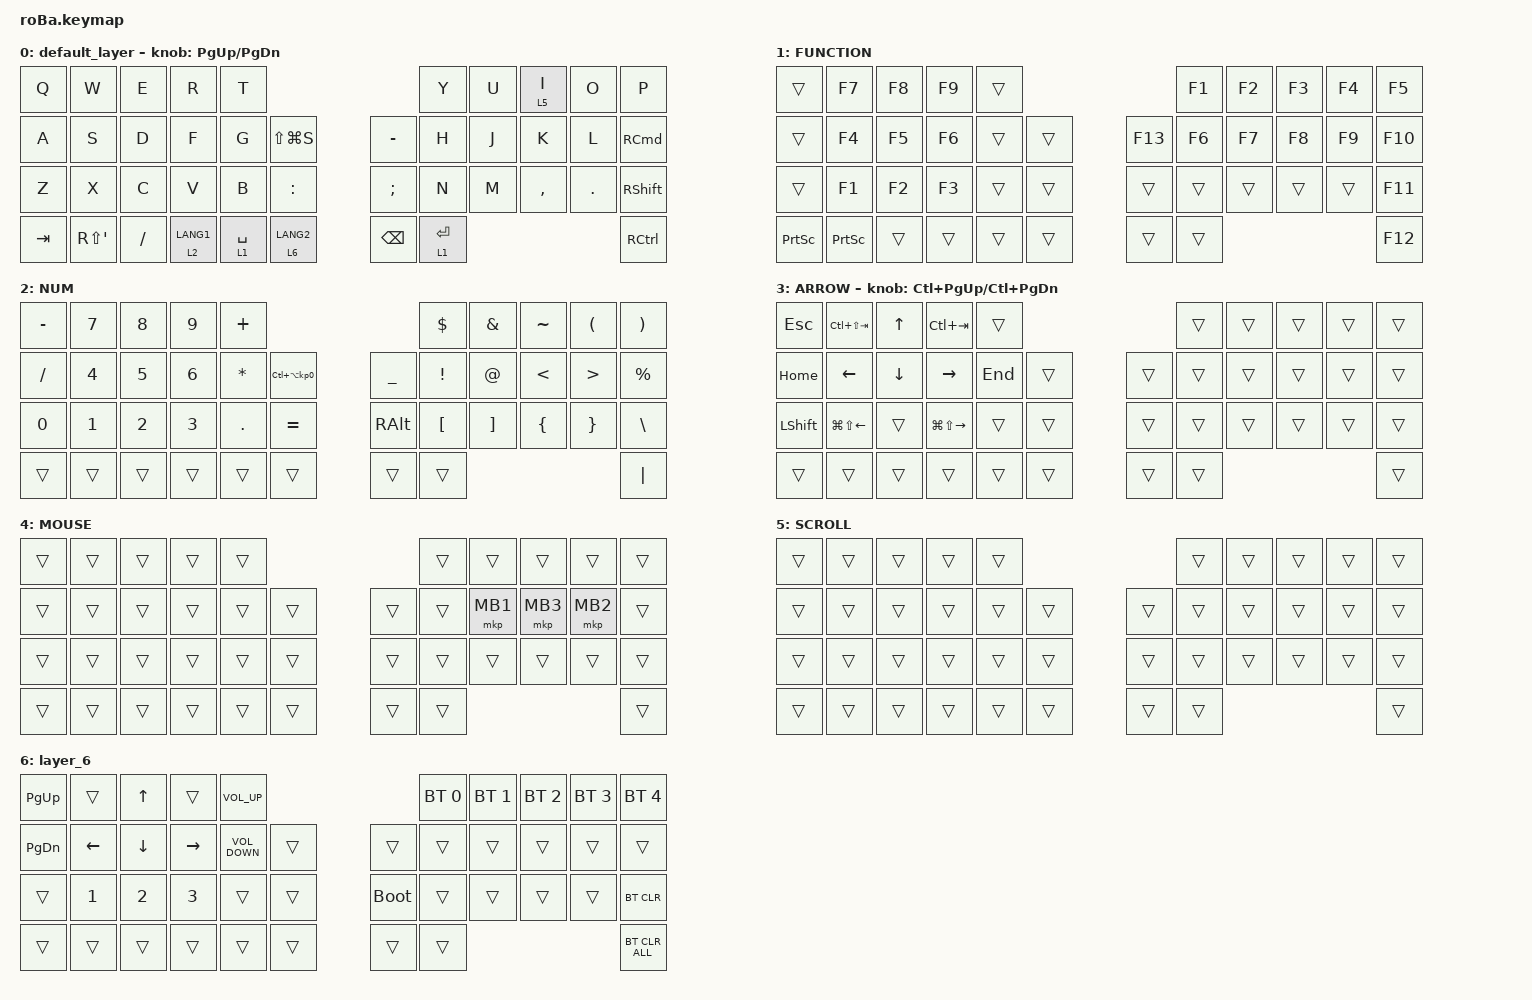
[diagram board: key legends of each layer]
#include <behaviors.dtsi>
#include <dt-bindings/zmk/bt.h>
#include <dt-bindings/zmk/keys.h>
#include <dt-bindings/zmk/pointing.h>

&mt {
    flavor = "balanced";
    quick-tap-ms = <0>;
};

&trackball {
    automouse-layer = <4>;
    scroll-layers = <5>;

    // arrows {
    //     layers = <3>;
    //     bindings =
    //         <&kp RIGHT_ARROW>,
    //         <&kp LEFT_ARROW>,
    //         <&kp UP_ARROW>,
    //         <&kp DOWN_ARROW>;
    //     tick = <10>;
    //     wait-ms = <5>;
    //     tap-ms = <5>;
    // };
};

/ {
    combos {
        compatible = "zmk,combos";

        tab {
            bindings = <&kp TAB>;
            key-positions = <11 12>;
        };

        shift_tab {
            bindings = <&kp LS(TAB)>;
            key-positions = <12 13>;
        };

        muhennkann {
            bindings = <&to_layer_0 INT_MUHENKAN>;
            key-positions = <11 10>;
        };

        double_quotation {
            bindings = <&kp DOUBLE_QUOTES>;
            key-positions = <20 21>;
        };

        eq {
            bindings = <&kp EQUAL>;
            key-positions = <24 25>;
        };
    };

    macros {
        to_layer_0: to_layer_0 {
            compatible = "zmk,behavior-macro-one-param";
            #binding-cells = <1>;
            bindings = <&to 0 &macro_param_1to1 &kp MACRO_PLACEHOLDER>;
            label = "TO_LAYER_0";
        };
    };

    behaviors {
        lt_to_layer_0: lt_to_layer_0 {
            compatible = "zmk,behavior-hold-tap";
            label = "LAYER_TAP_TO_0";
            bindings = <&mo>, <&to_layer_0>;

            #binding-cells = <2>;
            tapping-term-ms = <200>;
        };
    };

    keymap {
        compatible = "zmk,keymap";

        default_layer {
            bindings = <
&kp Q    &kp W        &kp E      &kp R                   &kp T                                                              &kp Y        &kp U  &lt 5 I    &kp O    &kp P
&kp A    &kp S        &kp D      &kp F                   &kp G                   &kp LS(LG(S))               &kp MINUS      &kp H        &kp J  &kp K      &kp L    &kp RIGHT_COMMAND
&kp Z    &kp X        &kp C      &kp V                   &kp B                   &kp COLON                   &kp SEMICOLON  &kp N        &kp M  &kp COMMA  &kp DOT  &kp RIGHT_SHIFT
&kp TAB  &kp RS(SQT)  &kp SLASH  &lt_to_layer_0 2 LANG1  &lt_to_layer_0 1 SPACE  &lt_to_layer_0 6 LANG2      &kp BACKSPACE  &lt 1 ENTER                             &kp RIGHT_CONTROL
            >;

            sensor-bindings = <&inc_dec_kp PG_UP PAGE_DOWN>;
        };

        FUNCTION {
            bindings = <
&trans           &kp F7           &kp F8  &kp F9  &trans                       &kp F1  &kp F2  &kp F3  &kp F4  &kp F5
&trans           &kp F4           &kp F5  &kp F6  &trans  &trans      &kp F13  &kp F6  &kp F7  &kp F8  &kp F9  &kp F10
&trans           &kp F1           &kp F2  &kp F3  &trans  &trans      &trans   &trans  &trans  &trans  &trans  &kp F11
&kp PRINTSCREEN  &kp PRINTSCREEN  &trans  &trans  &trans  &trans      &trans   &trans                          &kp F12
            >;
        };

        NUM {
            bindings = <
&kp MINUS     &kp NUMBER_7  &kp NUMBER_8  &kp NUMBER_9  &kp PLUS                                                   &kp DOLLAR        &kp AMPERSAND      &kp TILDE       &kp LEFT_PARENTHESIS  &kp RIGHT_PARENTHESIS
&kp SLASH     &kp NUMBER_4  &kp NUMBER_5  &kp NUMBER_6  &kp ASTERISK  &kp LC(LA(KP_NUMBER_0))      &kp UNDERSCORE  &kp EXCLAMATION   &kp AT_SIGN        &kp LESS_THAN   &kp GREATER_THAN      &kp PERCENT
&kp NUMBER_0  &kp NUMBER_1  &kp NUMBER_2  &kp NUMBER_3  &kp PERIOD    &kp EQUAL                    &kp RIGHT_ALT   &kp LEFT_BRACKET  &kp RIGHT_BRACKET  &kp LEFT_BRACE  &kp RIGHT_BRACE       &kp BACKSLASH
&trans        &trans        &trans        &trans        &trans        &trans                       &trans          &trans                                                                     &kp PIPE
            >;
        };

        ARROW {
            bindings = <
&kp ESCAPE      &kp LC(LS(TAB))         &kp UP_ARROW    &kp LC(TAB)              &trans                       &trans  &trans  &trans  &trans  &trans
&kp HOME        &kp LEFT_ARROW          &kp DOWN_ARROW  &kp RIGHT_ARROW          &kp END  &trans      &trans  &trans  &trans  &trans  &trans  &trans
&kp LEFT_SHIFT  &kp LG(LS(LEFT_ARROW))  &trans          &kp LG(LS(RIGHT_ARROW))  &trans   &trans      &trans  &trans  &trans  &trans  &trans  &trans
&trans          &trans                  &trans          &trans                   &trans   &trans      &trans  &trans                          &trans
            >;

            sensor-bindings = <&inc_dec_kp LC(PAGE_UP) LC(PAGE_DOWN)>;
        };

        MOUSE {
            bindings = <
&trans  &trans  &trans  &trans  &trans                      &trans  &trans    &trans    &trans    &trans
&trans  &trans  &trans  &trans  &trans  &trans      &trans  &trans  &mkp MB1  &mkp MB3  &mkp MB2  &trans
&trans  &trans  &trans  &trans  &trans  &trans      &trans  &trans  &trans    &trans    &trans    &trans
&trans  &trans  &trans  &trans  &trans  &trans      &trans  &trans                                &trans
            >;
        };

        SCROLL {
            bindings = <
&trans  &trans  &trans  &trans  &trans                      &trans  &trans  &trans  &trans  &trans
&trans  &trans  &trans  &trans  &trans  &trans      &trans  &trans  &trans  &trans  &trans  &trans
&trans  &trans  &trans  &trans  &trans  &trans      &trans  &trans  &trans  &trans  &trans  &trans
&trans  &trans  &trans  &trans  &trans  &trans      &trans  &trans                          &trans
            >;
        };

        layer_6 {
            bindings = <
&kp PAGE_UP    &trans        &kp UP          &trans        &kp C_VOLUME_UP                             &bt BT_SEL 0  &bt BT_SEL 1  &bt BT_SEL 2  &bt BT_SEL 3  &bt BT_SEL 4
&kp PAGE_DOWN  &kp LEFT      &kp DOWN_ARROW  &kp RIGHT     &kp C_VOLUME_DOWN  &trans      &trans       &trans        &trans        &trans        &trans        &trans
&trans         &kp NUMBER_1  &kp NUMBER_2    &kp NUMBER_3  &trans             &trans      &bootloader  &trans        &trans        &trans        &trans        &bt BT_CLR
&trans         &trans        &trans          &trans        &trans             &trans      &trans       &trans                                                  &bt BT_CLR_ALL
            >;
        };
    };
};
